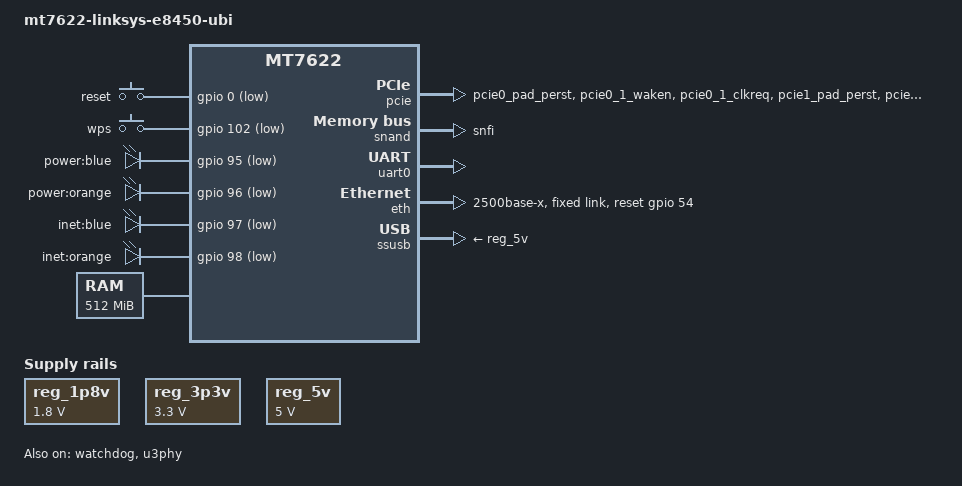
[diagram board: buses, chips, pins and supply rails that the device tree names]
// SPDX-License-Identifier: GPL-2.0
/*
 * Copyright (c) 2019 MediaTek Inc.
 * Author: Sam Shih <sam.shih@mediatek.com>
 */

/dts-v1/;
#include <dt-bindings/input/linux-event-codes.h>
#include "mt7622.dtsi"
#include "mt7622-u-boot.dtsi"

/ {
	#address-cells = <1>;
	#size-cells = <1>;
	model = "mt7622-linksys-e8450-ubi";
	compatible = "mediatek,mt7622", "linksys,e8450-ubi";
	chosen {
		stdout-path = &uart0;
		tick-timer = &timer0;
	};

	aliases {
		spi0 = &snand;
	};

	gpio-keys {
		compatible = "gpio-keys";

		factory {
			label = "reset";
			gpios = <&gpio 0 GPIO_ACTIVE_LOW>;
			linux,code = <KEY_RESTART>;
		};

		wps {
			label = "wps";
			gpios = <&gpio 102 GPIO_ACTIVE_LOW>;
			linux,code = <KEY_WPS_BUTTON>;
		};
	};

	gpio-leds {
		compatible = "gpio-leds";

		led_power: power_blue {
			label = "power:blue";
			gpios = <&gpio 95 GPIO_ACTIVE_LOW>;
			default-state = "on";
		};

		power_orange {
			label = "power:orange";
			gpios = <&gpio 96 GPIO_ACTIVE_LOW>;
			default-state = "off";
		};

		inet_blue {
			label = "inet:blue";
			gpios = <&gpio 97 GPIO_ACTIVE_LOW>;
			default-state = "off";
		};

		inet_orange {
			label = "inet:orange";
			gpios = <&gpio 98 GPIO_ACTIVE_LOW>;
			default-state = "off";
		};
	};

	memory@40000000 {
		device_type = "memory";
		reg = <0x40000000 0x20000000>;
	};

	reg_1p8v: regulator-1p8v {
		compatible = "regulator-fixed";
		regulator-name = "fixed-1.8V";
		regulator-min-microvolt = <1800000>;
		regulator-max-microvolt = <1800000>;
		regulator-boot-on;
		regulator-always-on;
	};

	reg_3p3v: regulator-3p3v {
		compatible = "regulator-fixed";
		regulator-name = "fixed-3.3V";
		regulator-min-microvolt = <3300000>;
		regulator-max-microvolt = <3300000>;
		regulator-boot-on;
		regulator-always-on;
	};

	reg_5v: regulator-5v {
		compatible = "regulator-fixed";
		regulator-name = "fixed-5V";
		regulator-min-microvolt = <5000000>;
		regulator-max-microvolt = <5000000>;
		regulator-boot-on;
		regulator-always-on;
	};
};

&pcie {
	pinctrl-names = "default";
	pinctrl-0 = <&pcie0_pins>, <&pcie1_pins>;
	status = "okay";

	pcie@0,0 {
		status = "okay";
	};

	pcie@1,0 {
		status = "okay";
	};
};

&pinctrl {
	pcie0_pins: pcie0-pins {
		mux {
			function = "pcie";
			groups = "pcie0_pad_perst",
				 "pcie0_1_waken",
				 "pcie0_1_clkreq";
		};
	};

	pcie1_pins: pcie1-pins {
		mux {
			function = "pcie";
			groups = "pcie1_pad_perst",
				 "pcie1_0_waken",
				 "pcie1_0_clkreq";
		};
	};

	snfi_pins: snfi-pins {
		mux {
			function = "flash";
			groups = "snfi";
		};
	};

	uart0_pins: uart0 {
		mux {
			function = "uart";
			groups = "uart0_0_tx_rx" ;
		};
	};

	watchdog_pins: watchdog-default {
		mux {
			function = "watchdog";
			groups = "watchdog";
		};
	};
};

&snand {
	pinctrl-names = "default";
	pinctrl-0 = <&snfi_pins>;
	status = "okay";
	quad-spi;
};

&uart0 {
	mediatek,force-highspeed;
	status = "okay";
};

&watchdog {
	pinctrl-names = "default";
	pinctrl-0 = <&watchdog_pins>;
	status = "okay";
};

&eth {
	status = "okay";
	mediatek,gmac-id = <0>;
	phy-mode = "2500base-x";
	mediatek,switch = "mt7531";
	reset-gpios = <&gpio 54 GPIO_ACTIVE_HIGH>;

	fixed-link {
		speed = <2500>;
		full-duplex;
	};
};

&ssusb {
	vusb33-supply = <&reg_3p3v>;
	vbus-supply = <&reg_5v>;
	status = "okay";
};

&u3phy {
	status = "okay";
};
